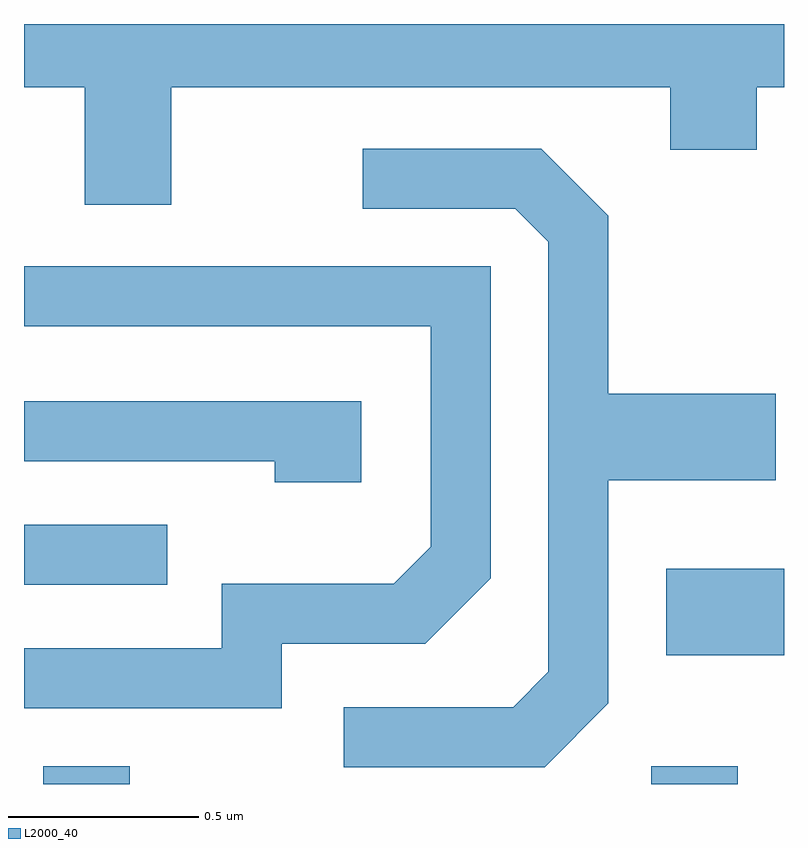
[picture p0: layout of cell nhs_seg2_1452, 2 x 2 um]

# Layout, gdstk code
import gdstk
lib = gdstk.Library(unit=1e-6, precision=1e-09)
def R(c, l, rs):  # rectangles x0, y0, x1, y1
    for r in rs: c.add(gdstk.rectangle(r[:2], r[2:], *l))
def P(c, l, *ps):  # polygons
    for p in ps: c.add(gdstk.Polygon(p, *l))
L2000_40 = (2000, 40)

nhs_seg2_1452 = lib.new_cell('nhs_seg2_1452')
R(nhs_seg2_1452, L2000_40, [(195.661,1059.802,195.889,1059.849), (197.261,1059.802,197.489,1059.849), (197.301,1060.141,197.611,1060.369), (195.611,1060.326,195.988,1060.484)])
P(nhs_seg2_1452, L2000_40, [(195.999,1061.636),(197.311,1061.636),(197.311,1061.471),(197.539,1061.471),(197.539,1061.636),(197.611,1061.636),(197.611,1061.802),(195.611,1061.802),(195.611,1061.636),(195.771,1061.636),(195.771,1061.326),(195.999,1061.326)],
  [(197.149,1060.014),(197.149,1060.601),(197.589,1060.601),(197.589,1060.829),(197.149,1060.829),(197.149,1061.297),(196.972,1061.474),(196.503,1061.474),(196.503,1061.316),(196.904,1061.316),(196.991,1061.229),(196.991,1060.097),(196.899,1060.004),(196.453,1060.004),(196.453,1059.846),(196.982,1059.846)],
  [(196.289,1060.171),(196.667,1060.171),(196.839,1060.344),(196.839,1061.164),(195.611,1061.164),(195.611,1061.006),(196.681,1061.006),(196.681,1060.427),(196.584,1060.329),(196.131,1060.329),(196.131,1060.159),(195.611,1060.159),(195.611,1060.001),(196.289,1060.001)],
  [(196.499,1060.809),(195.611,1060.809),(195.611,1060.651),(196.271,1060.651),(196.271,1060.596),(196.499,1060.596)])

lib.write_gds('nhs_seg2_1452.gds')
